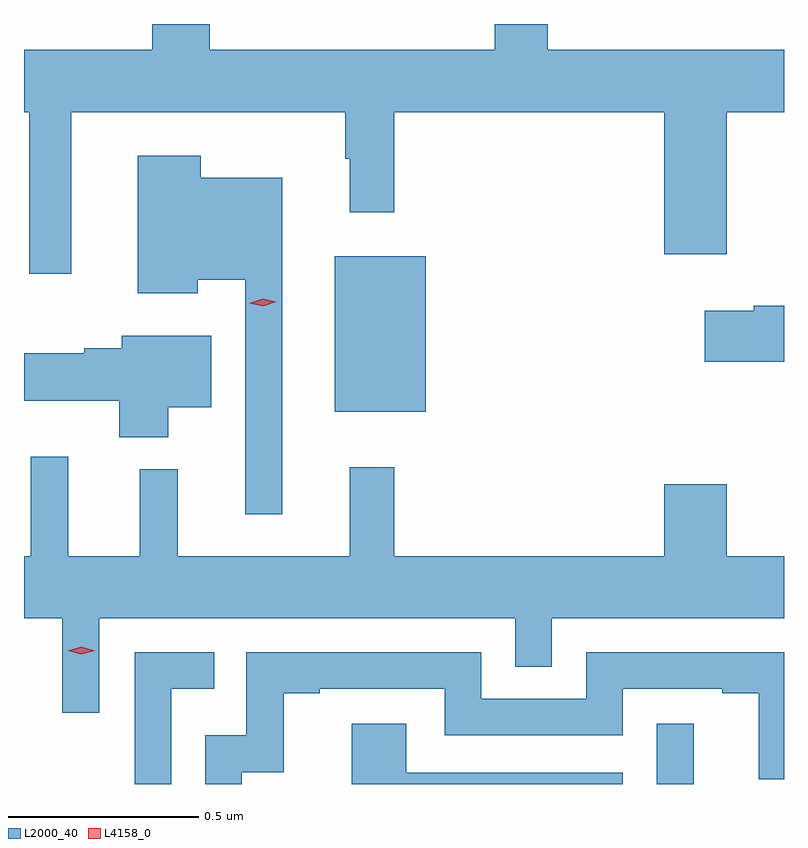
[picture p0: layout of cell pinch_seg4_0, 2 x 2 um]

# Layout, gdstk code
import gdstk
lib = gdstk.Library(unit=1e-6, precision=1e-09)
def R(c, l, rs):  # rectangles x0, y0, x1, y1
    for r in rs: c.add(gdstk.rectangle(r[:2], r[2:], *l))
def P(c, l, *ps):  # polygons
    for p in ps: c.add(gdstk.Polygon(p, *l))
L2000_40 = (2000, 40)
L4158_0 = (4158, 0)

pinch_seg4_0 = lib.new_cell('pinch_seg4_0')
R(pinch_seg4_0, L2000_40, [(1088.064,824.356,1088.161,824.515), (1087.217,825.335,1087.456,825.745)])
P(pinch_seg4_0, L2000_40, [(1086.523,826.124),(1087.245,826.124),(1087.245,826.001),(1087.256,826.001),(1087.256,825.861),(1087.373,825.861),(1087.373,826.124),(1088.084,826.124),(1088.084,825.75),(1088.248,825.75),(1088.248,826.124),(1088.399,826.124),(1088.399,826.288),(1087.777,826.288),(1087.777,826.356),(1087.638,826.356),(1087.638,826.288),(1086.888,826.288),(1086.888,826.356),(1086.737,826.356),(1086.737,826.288),(1086.399,826.288),(1086.399,826.124),(1086.413,826.124),(1086.413,825.699),(1086.523,825.699)],
  [(1087.078,825.952),(1086.864,825.952),(1086.864,826.009),(1086.698,826.009),(1086.698,825.647),(1086.856,825.647),(1086.856,825.683),(1086.981,825.683),(1086.981,825.066),(1087.078,825.066)],
  [(1088.399,825.614),(1088.319,825.614),(1088.319,825.601),(1088.19,825.601),(1088.19,825.467),(1088.399,825.467)],
  [(1086.778,825.347),(1086.892,825.347),(1086.892,825.535),(1086.656,825.535),(1086.656,825.503),(1086.558,825.503),(1086.558,825.49),(1086.399,825.49),(1086.399,825.365),(1086.649,825.365),(1086.649,825.269),(1086.778,825.269)],
  [(1086.597,824.792),(1087.692,824.792),(1087.692,824.665),(1087.788,824.665),(1087.788,824.792),(1088.399,824.792),(1088.399,824.956),(1088.248,824.956),(1088.248,825.145),(1088.084,825.145),(1088.084,824.956),(1087.373,824.956),(1087.373,825.19),(1087.256,825.19),(1087.256,824.956),(1086.803,824.956),(1086.803,825.184),(1086.704,825.184),(1086.704,824.956),(1086.515,824.956),(1086.515,825.217),(1086.417,825.217),(1086.417,824.956),(1086.399,824.956),(1086.399,824.792),(1086.5,824.792),(1086.5,824.544),(1086.597,824.544)],
  [(1086.972,824.387),(1087.082,824.387),(1087.082,824.595),(1087.177,824.595),(1087.177,824.607),(1087.506,824.607),(1087.506,824.484),(1087.974,824.484),(1087.974,824.607),(1088.237,824.607),(1088.237,824.595),(1088.333,824.595),(1088.333,824.369),(1088.399,824.369),(1088.399,824.703),(1087.878,824.703),(1087.878,824.58),(1087.602,824.58),(1087.602,824.703),(1086.984,824.703),(1086.984,824.484),(1086.876,824.484),(1086.876,824.356),(1086.972,824.356)],
  [(1086.786,824.607),(1086.899,824.607),(1086.899,824.703),(1086.69,824.703),(1086.69,824.356),(1086.786,824.356)],
  [(1087.974,824.385),(1087.405,824.385),(1087.405,824.515),(1087.261,824.515),(1087.261,824.356),(1087.974,824.356)])
P(pinch_seg4_0, L4158_0, [(1087.028,825.613),(1086.992,825.621),(1086.992,825.621),(1086.992,825.621),(1087.027,825.633),(1087.063,825.625),(1087.063,825.625),(1087.063,825.625)],
  [(1086.55,824.697),(1086.514,824.707),(1086.514,824.707),(1086.514,824.707),(1086.55,824.717),(1086.586,824.707),(1086.586,824.707),(1086.586,824.707)])

lib.write_gds('pinch_seg4_0.gds')
